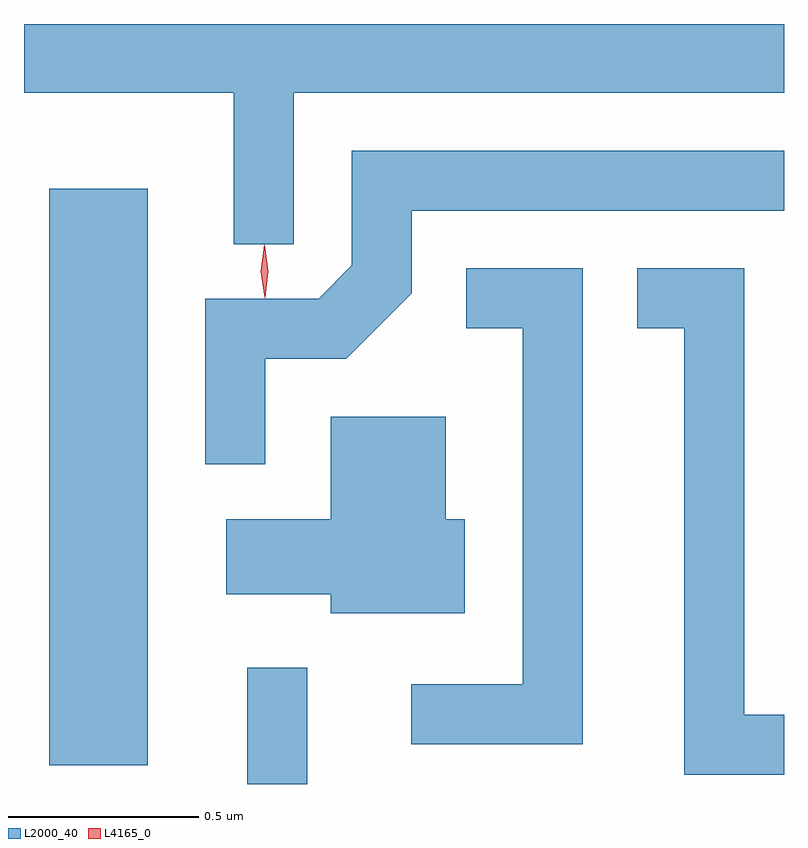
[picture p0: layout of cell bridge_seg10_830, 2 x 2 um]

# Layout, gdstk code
import gdstk
lib = gdstk.Library(unit=1e-6, precision=1e-09)
def R(c, l, rs):  # rectangles x0, y0, x1, y1
    for r in rs: c.add(gdstk.rectangle(r[:2], r[2:], *l))
def P(c, l, *ps):  # polygons
    for p in ps: c.add(gdstk.Polygon(p, *l))
L2000_40 = (2000, 40)
L4165_0 = (4165, 0)

bridge_seg10_830 = lib.new_cell('bridge_seg10_830')
R(bridge_seg10_830, L2000_40, [(427.396,2118.757,427.554,2119.063), (426.876,2118.806,427.134,2120.324)])
P(bridge_seg10_830, L2000_40, [(427.519,2120.576),(428.809,2120.576),(428.809,2120.757),(426.809,2120.757),(426.809,2120.576),(427.361,2120.576),(427.361,2120.178),(427.519,2120.178)],
  [(427.444,2119.876),(427.657,2119.876),(427.829,2120.049),(427.829,2120.266),(428.809,2120.266),(428.809,2120.424),(427.671,2120.424),(427.671,2120.122),(427.584,2120.034),(427.286,2120.034),(427.286,2119.598),(427.444,2119.598)],
  [(428.809,2118.939),(428.704,2118.939),(428.704,2120.114),(428.423,2120.114),(428.423,2119.956),(428.546,2119.956),(428.546,2118.781),(428.809,2118.781)],
  [(428.279,2120.114),(427.973,2120.114),(427.973,2119.956),(428.121,2119.956),(428.121,2119.019),(427.828,2119.019),(427.828,2118.861),(428.279,2118.861)],
  [(427.969,2119.454),(427.919,2119.454),(427.919,2119.724),(427.616,2119.724),(427.616,2119.454),(427.341,2119.454),(427.341,2119.256),(427.616,2119.256),(427.616,2119.206),(427.969,2119.206)])
P(bridge_seg10_830, L4165_0, [(427.443,2120.037),(427.432,2120.106),(427.441,2120.175),(427.441,2120.176),(427.442,2120.175),(427.452,2120.106),(427.444,2120.037),(427.444,2120.037)],
  [(427.443,2120.039),(427.443,2120.039),(427.432,2120.106),(427.441,2120.172),(427.441,2120.172),(427.442,2120.172),(427.452,2120.106),(427.444,2120.039)])

lib.write_gds('bridge_seg10_830.gds')
